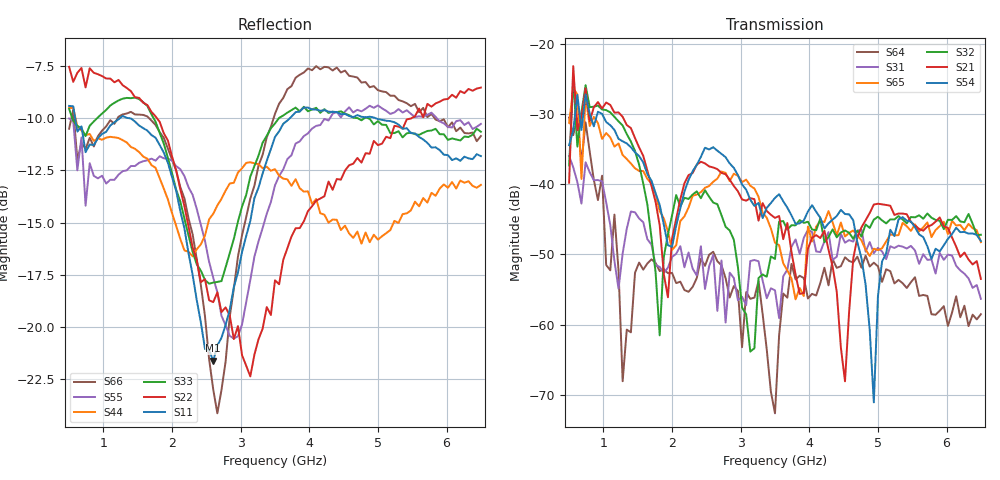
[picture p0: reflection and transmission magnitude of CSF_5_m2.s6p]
!Keysight Technologies,M9804A,MY58100912,A.14.10.03
!Date: Thursday, April 27, 2023 10:28:33
!Correction: S11(C  6-Port  )
!S12(C  6-Port  )
!S13(C  6-Port  )
!S14(C  6-Port  )
!S15(C  6-Port  )
!S16(C  6-Port  )
!S21(C  6-Port  )
!S22(C  6-Port  )
!S23(C  6-Port  )
!S24(C  6-Port  )
!S25(C  6-Port  )
!S26(C  6-Port  )
!S31(C  6-Port  )
!S32(C  6-Port  )
!S33(C  6-Port  )
!S34(C  6-Port  )
!S35(C  6-Port  )
!S36(C  6-Port  )
!S41(C  6-Port  )
!S42(C  6-Port  )
!S43(C  6-Port  )
!S44(C  6-Port  )
!S45(C  6-Port  )
!S46(C  6-Port  )
!S51(C  6-Port  )
!S52(C  6-Port  )
!S53(C  6-Port  )
!S54(C  6-Port  )
!S55(C  6-Port  )
!S56(C  6-Port  )
!S61(C  6-Port  )
!S62(C  6-Port  )
!S63(C  6-Port  )
!S64(C  6-Port  )
!S65(C  6-Port  )
!S66(C  6-Port  )
!S6P File: Measurement: :
# Hz S  RI  R 50
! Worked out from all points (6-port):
!   101 points, 500 MHz to 6.5 GHz, reference 50 ohm
!   strongest paths, dB at 500 MHz, 2 GHz, 3.5 GHz, 5 GHz, 6.5 GHz:
!     S54: -34.4, -48.9, -41.9, -56.0, -48.1
!     S21: -39.8, -47.7, -44.8, -42.8, -53.5
!     S32: -37.3, -44.4, -50.6, -44.6, -47.2
!     S65: -31.3, -49.4, -48.3, -49.4, -48.3
!     S31: -36.0, -50.4, -55.1, -49.1, -56.3
!     S64: -30.5, -52.6, -72.6, -51.7, -58.5
!   lowest |S11| = -21.6 dB at 2.6 GHz (marker M1), VSWR 1.18, Z = 42.6 + j2.02 ohm
!   |S11| at or under -10 dB: 588.4 MHz to 1.238 GHz (649.6 MHz wide, 71.1 % of centre); 1.386 GHz to 3.715 GHz (2.329 GHz wide, 91.3 % of centre); 4.969 GHz to end of sweep
